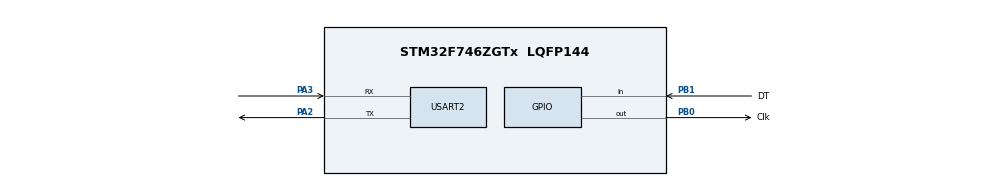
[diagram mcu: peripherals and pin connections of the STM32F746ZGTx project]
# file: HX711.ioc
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Mcu.Family=STM32F7
Mcu.Name=STM32F746ZGTx
Mcu.Package=LQFP144
NVIC.PriorityGroup=NVIC_PRIORITYGROUP_4
NVIC.TIM3_IRQn=true\:0\:0\:false\:false\:true\:true
PA2.Mode=Asynchronous
PA2.Signal=USART2_TX
PA3.Mode=Asynchronous
PA3.Signal=USART2_RX
PB0.GPIO_Label=Clk
PB0.Signal=GPIO_Output
PB1.GPIO_Label=DT
PB1.Signal=GPIO_Input
ProjectManager.HeapSize=0x200
ProjectManager.StackSize=0x400
ProjectManager.TargetToolchain=SW4STM32
RCC.HSE_VALUE=25000000
RCC.HSI_VALUE=16000000
RCC.LSE_VALUE=32768
RCC.USBFreq_Value=96000000
RCC.VCOOutputFreq_Value=192000000
TIM3.Period=1
TIM3.Prescaler=16-1
USART2.VirtualMode-Asynchronous=VM_ASYNC
VP_TIM3_VS_ClockSourceINT.Mode=Internal
board=custom

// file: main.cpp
/* USER CODE BEGIN Header */
/**
 ******************************************************************************
 * @file           : main.c
 * @brief          : Main program body
 ******************************************************************************
 ** This notice applies to any and all portions of this file
 * that are not between comment pairs USER CODE BEGIN and
 * USER CODE END. Other portions of this file, whether
 * inserted by the user or by software development tools
 * are owned by their respective copyright owners.
 *
 * COPYRIGHT(c) 2019 STMicroelectronics
 *
 * Redistribution and use in source and binary forms, with or without modification,
 * are permitted provided that the following conditions are met:
 *   1. Redistributions of source code must retain the above copyright notice,
 *      this list of conditions and the following disclaimer.
 *   2. Redistributions in binary form must reproduce the above copyright notice,
 *      this list of conditions and the following disclaimer in the documentation
 *      and/or other materials provided with the distribution.
 *   3. Neither the name of STMicroelectronics nor the names of its contributors
 *      may be used to endorse or promote products derived from this software
 *      without specific prior written permission.
 *
 * THIS SOFTWARE IS PROVIDED BY THE COPYRIGHT HOLDERS AND CONTRIBUTORS "AS IS"
 * AND ANY EXPRESS OR IMPLIED WARRANTIES, INCLUDING, BUT NOT LIMITED TO, THE
 * IMPLIED WARRANTIES OF MERCHANTABILITY AND FITNESS FOR A PARTICULAR PURPOSE ARE
 * DISCLAIMED. IN NO EVENT SHALL THE COPYRIGHT HOLDER OR CONTRIBUTORS BE LIABLE
 * FOR ANY DIRECT, INDIRECT, INCIDENTAL, SPECIAL, EXEMPLARY, OR CONSEQUENTIAL
 * DAMAGES (INCLUDING, BUT NOT LIMITED TO, PROCUREMENT OF SUBSTITUTE GOODS OR
 * SERVICES; LOSS OF USE, DATA, OR PROFITS; OR BUSINESS INTERRUPTION) HOWEVER
 * CAUSED AND ON ANY THEORY OF LIABILITY, WHETHER IN CONTRACT, STRICT LIABILITY,
 * OR TORT (INCLUDING NEGLIGENCE OR OTHERWISE) ARISING IN ANY WAY OUT OF THE USE
 * OF THIS SOFTWARE, EVEN IF ADVISED OF THE POSSIBILITY OF SUCH DAMAGE.
 *
 ******************************************************************************
 */
/* USER CODE END Header */

#include <dwt_delay.hpp>
#include <HX711_ADC.hpp>
#include "main.h"

/* USER CODE BEGIN Includes */
#include "string.h"
/* USER CODE END Includes */

/* USER CODE BEGIN PTD */

HX711_ADC loadcell(4, 5);
/* USER CODE END PTD */

TIM_HandleTypeDef htim3;

UART_HandleTypeDef huart2;

/* USER CODE BEGIN PV */
//float calValue; // calibration value
float calValue = 696.0; // uncomment this if you want to set this value in the sketch
long t;
char str[100];
uint64_t MiliCounter;
/* USER CODE END PV */

void SystemClock_Config(void);
static void MX_GPIO_Init(void);
static void MX_USART2_UART_Init(void);
static void MX_TIM3_Init(void);

/* USER CODE BEGIN 0 */

//HAL_Delay(10);
void HAL_TIM_PeriodElapsedCallback(TIM_HandleTypeDef *htim)
{
	if(htim->Instance == TIM3)
	{
		loadcell.update();
	}
}
/* USER CODE END 0 */

int main(void)
{

	/* MCU Configuration--------------------------------------------------------*/

	/* Reset of all peripherals, Initializes the Flash interface and the Systick. */
	HAL_Init();

	/* Configure the system clock */
	SystemClock_Config();

	/* USER CODE BEGIN SysInit */
	DWT_Init();
	/* USER CODE END SysInit */

	/* Initialize all configured peripherals */
	MX_GPIO_Init();
	MX_USART2_UART_Init();
	MX_TIM3_Init();

	/* USER CODE BEGIN 2 */
	HAL_TIM_Base_Start_IT(&htim3);
	//SysTick_Config (16000000 / 1000000);
	HAL_Delay(10);

	sprintf(str,"Starting .......\r\n");
	HAL_UART_Transmit(&huart2,(uint8_t *)str,strlen(str),100);

	loadcell.begin();
	long stabilisingtime = 50; // tare preciscion can be improved by adding a few seconds of stabilising time
	loadcell.start(stabilisingtime);
	if(loadcell.getTareTimeoutFlag()) {
		//Serial.println("Tare timeout, check MCU>HX711 wiring and pin designations");
	}
	else {
		loadcell.setCalFactor(calValue); // set calibration value (float)
		//Serial.println("Startup + tare is complete");
	}

	long t;
	/* USER CODE END 2 */

	/* Infinite loop */
	while (1)
	{

		/* USER CODE BEGIN 3 */
		float i = 0;
		//loadcell.update();

		//get smoothed value from data set
		if (HAL_GetTick() > t + 250) {
			i = loadcell.getData();
			t = HAL_GetTick();
		}

		//check if last tare operation is complete
		if (loadcell.getTareStatus() == true) {
			//Serial.println("Tare complete");
		}
		//sprintf(str,"data %d\r\n",(int)i);
		sprintf(str,"Weight: %f  g\r\n",i*3.570);
		HAL_UART_Transmit(&huart2,(uint8_t *)str,strlen(str),1000);
		HAL_Delay(500);
	}
	/* USER CODE END 3 */
}

void SystemClock_Config(void)
{
	RCC_OscInitTypeDef RCC_OscInitStruct = {0};
	RCC_ClkInitTypeDef RCC_ClkInitStruct = {0};
	RCC_PeriphCLKInitTypeDef PeriphClkInitStruct = {0};

	/**Configure the main internal regulator output voltage
	 */
	__HAL_RCC_PWR_CLK_ENABLE();
	__HAL_PWR_VOLTAGESCALING_CONFIG(PWR_REGULATOR_VOLTAGE_SCALE3);
	/**Initializes the CPU, AHB and APB busses clocks
	 */
	RCC_OscInitStruct.OscillatorType = RCC_OSCILLATORTYPE_HSI;
	RCC_OscInitStruct.HSIState = RCC_HSI_ON;
	RCC_OscInitStruct.HSICalibrationValue = RCC_HSICALIBRATION_DEFAULT;
	RCC_OscInitStruct.PLL.PLLState = RCC_PLL_NONE;
	if (HAL_RCC_OscConfig(&RCC_OscInitStruct) != HAL_OK)
	{
		Error_Handler();
	}
	/**Initializes the CPU, AHB and APB busses clocks
	 */
	RCC_ClkInitStruct.ClockType = RCC_CLOCKTYPE_HCLK|RCC_CLOCKTYPE_SYSCLK
			|RCC_CLOCKTYPE_PCLK1|RCC_CLOCKTYPE_PCLK2;
	RCC_ClkInitStruct.SYSCLKSource = RCC_SYSCLKSOURCE_HSI;
	RCC_ClkInitStruct.AHBCLKDivider = RCC_SYSCLK_DIV1;
	RCC_ClkInitStruct.APB1CLKDivider = RCC_HCLK_DIV1;
	RCC_ClkInitStruct.APB2CLKDivider = RCC_HCLK_DIV1;

	if (HAL_RCC_ClockConfig(&RCC_ClkInitStruct, FLASH_LATENCY_0) != HAL_OK)
	{
		Error_Handler();
	}
	PeriphClkInitStruct.PeriphClockSelection = RCC_PERIPHCLK_USART2;
	PeriphClkInitStruct.Usart2ClockSelection = RCC_USART2CLKSOURCE_PCLK1;
	if (HAL_RCCEx_PeriphCLKConfig(&PeriphClkInitStruct) != HAL_OK)
	{
		Error_Handler();
	}
}

static void MX_TIM3_Init(void)
{

	TIM_ClockConfigTypeDef sClockSourceConfig = {0};
	TIM_MasterConfigTypeDef sMasterConfig = {0};

	htim3.Instance = TIM3;
	htim3.Init.Prescaler = 16-1;
	htim3.Init.CounterMode = TIM_COUNTERMODE_UP;
	htim3.Init.Period = 1000;
	htim3.Init.ClockDivision = TIM_CLOCKDIVISION_DIV1;
	htim3.Init.AutoReloadPreload = TIM_AUTORELOAD_PRELOAD_DISABLE;
	if (HAL_TIM_Base_Init(&htim3) != HAL_OK)
	{
		Error_Handler();
	}
	sClockSourceConfig.ClockSource = TIM_CLOCKSOURCE_INTERNAL;
	if (HAL_TIM_ConfigClockSource(&htim3, &sClockSourceConfig) != HAL_OK)
	{
		Error_Handler();
	}
	sMasterConfig.MasterOutputTrigger = TIM_TRGO_RESET;
	sMasterConfig.MasterSlaveMode = TIM_MASTERSLAVEMODE_DISABLE;
	if (HAL_TIMEx_MasterConfigSynchronization(&htim3, &sMasterConfig) != HAL_OK)
	{
		Error_Handler();
	}

}

static void MX_USART2_UART_Init(void)
{

	huart2.Instance = USART2;
	huart2.Init.BaudRate = 115200;
	huart2.Init.WordLength = UART_WORDLENGTH_8B;
	huart2.Init.StopBits = UART_STOPBITS_1;
	huart2.Init.Parity = UART_PARITY_NONE;
	huart2.Init.Mode = UART_MODE_TX_RX;
	huart2.Init.HwFlowCtl = UART_HWCONTROL_NONE;
	huart2.Init.OverSampling = UART_OVERSAMPLING_16;
	huart2.Init.OneBitSampling = UART_ONE_BIT_SAMPLE_DISABLE;
	huart2.AdvancedInit.AdvFeatureInit = UART_ADVFEATURE_NO_INIT;
	if (HAL_UART_Init(&huart2) != HAL_OK)
	{
		Error_Handler();
	}

}

static void MX_GPIO_Init(void)
{
	GPIO_InitTypeDef GPIO_InitStruct = {0};

	/* GPIO Ports Clock Enable */
	__HAL_RCC_GPIOA_CLK_ENABLE();
	__HAL_RCC_GPIOB_CLK_ENABLE();

	/*Configure GPIO pin Output Level */
	HAL_GPIO_WritePin(Clk_GPIO_Port, Clk_Pin, GPIO_PIN_RESET);

	/*Configure GPIO pin : Clk_Pin */
	GPIO_InitStruct.Pin = Clk_Pin;
	GPIO_InitStruct.Mode = GPIO_MODE_OUTPUT_PP;
	GPIO_InitStruct.Pull = GPIO_NOPULL;
	GPIO_InitStruct.Speed = GPIO_SPEED_FREQ_LOW;
	HAL_GPIO_Init(Clk_GPIO_Port, &GPIO_InitStruct);

	/*Configure GPIO pin : DT_Pin */
	GPIO_InitStruct.Pin = DT_Pin;
	GPIO_InitStruct.Mode = GPIO_MODE_INPUT;
	GPIO_InitStruct.Pull = GPIO_NOPULL;
	HAL_GPIO_Init(DT_GPIO_Port, &GPIO_InitStruct);

}

void Error_Handler(void)
{
}

/************************ (C) COPYRIGHT STMicroelectronics *****END OF FILE****/
